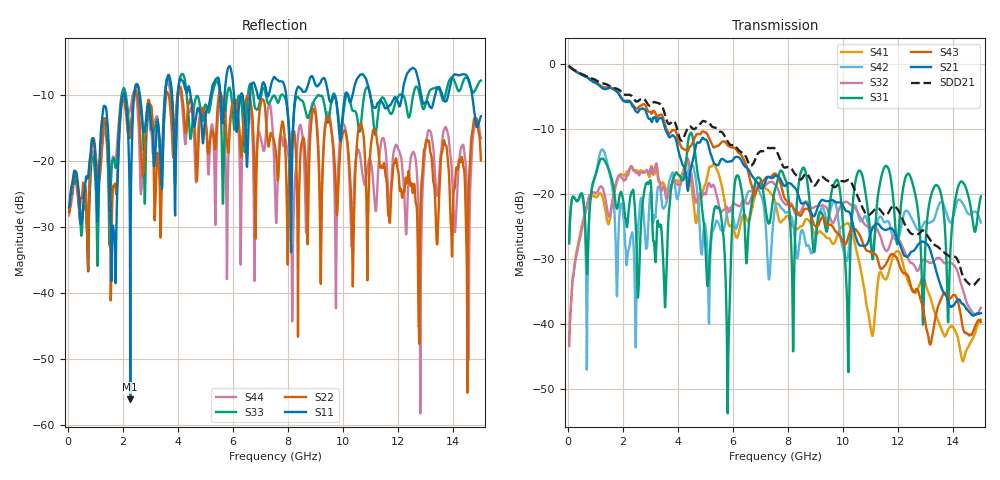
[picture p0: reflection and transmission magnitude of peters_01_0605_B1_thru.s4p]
! peters_01_0605 B1 channel thru response
#  HZ  S  RI  R  50
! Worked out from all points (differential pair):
!   1496 points, 50 MHz to 15 GHz, reference 50 ohm
!   strongest paths, dB at 50 MHz, 3.79 GHz, 7.53 GHz, 11.27 GHz, 15 GHz:
!     S21: -0.4, -11.0, -17.2, -24.6, -38.4
!     S43: -0.3, -10.2, -16.9, -30.4, -39.8
!     S31: -27.7, -18.2, -19.3, -20.1, -20.4
!     S32: -43.4, -18.5, -18.6, -25.8, -37.5
!     S42: -27.6, -16.8, -22.1, -23.9, -24.4
!     S41: -43.3, -18.3, -21.3, -33.3, -39.4
!   taken as a pair (ports 1,3 in; 2,4 out), SDD21 dB: -0.3, -8.9, -13.1, -22.3, -33.2
!   lowest |S11| = -56.0 dB at 2.27 GHz (marker M1), VSWR 1.00, Z = 50.1 - j0.135 ohm
!   |S11| at or under -10 dB: start of sweep to 2.009 GHz; 2.602 GHz to 3.537 GHz (935.6 MHz wide, 30.5 % of centre); 10.98 GHz to 12.14 GHz (1.168 GHz wide, 10.1 % of centre)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
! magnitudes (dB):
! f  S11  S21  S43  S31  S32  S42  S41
! 50 MHz  -27.0  -0.4  -0.3  -27.7  -43.4  -27.6  -43.3
! 2.27 GHz  -56.0  -5.8  -5.8  -20.5  -15.9  -27.1  -15.9
! 4.49 GHz  -10.9  -15.8  -12.5  -10.7  -16.8  -15.8  -18.6
! 5.82 GHz  -5.9  -15.1  -12.6  -48.2  -22.4  -22.7  -24.3
! 6.15 GHz  -15.4  -14.3  -13.4  -17.2  -21.8  -25.0  -26.8
! 12.8 GHz  -9.3  -27.5  -36.1  -27.0  -31.0  -25.6  -33.7
! 15 GHz  -13.2  -38.4  -39.8  -20.4  -37.5  -24.4  -39.4
